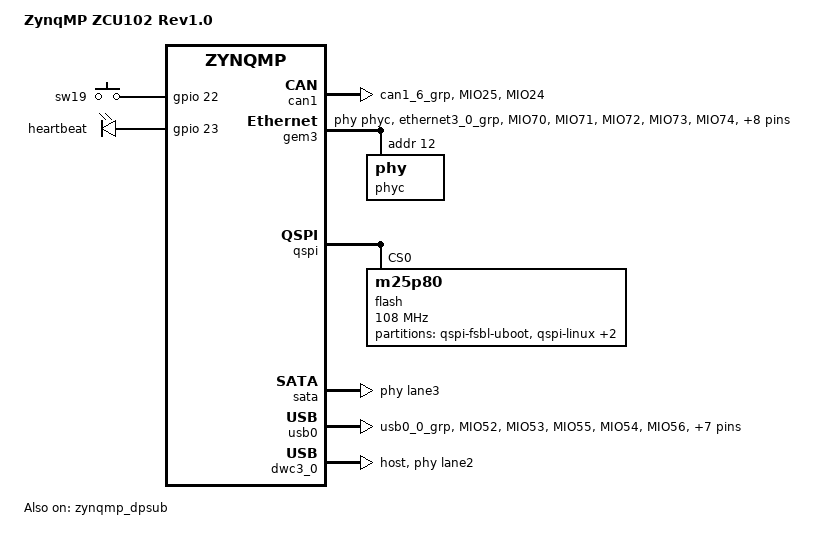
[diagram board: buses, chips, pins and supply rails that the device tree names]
// SPDX-License-Identifier: GPL-2.0+
/*
 * dts file for Xilinx ZynqMP ZCU102 Rev1.0
 * (C) Copyright 2016 - 2018, Xilinx, Inc.
 *
 * Michal Simek <michal.simek@xilinx.com>
 */

/ {
	model = "ZynqMP ZCU102 Rev1.0";
	compatible = "xlnx,zynqmp-zcu102-rev1.0", "xlnx,zynqmp-zcu102", "xlnx,zynqmp";

	gpio-keys {
		compatible = "gpio-keys";
		#address-cells = <1>;
		#size-cells = <0>;
		autorepeat;
		sw19 {
			label = "sw19";
			gpios = <&gpio 22 0>;
			linux,code = <108>; /* down */
			gpio-key,wakeup;
			autorepeat;
		};
	};

	leds {
		compatible = "gpio-leds";
		heartbeat_led {
			label = "heartbeat";
			gpios = <&gpio 23 0>;
			linux,default-trigger = "heartbeat";
		};
	};
};

&can1 {
	pinctrl-names = "default";
	pinctrl-0 = <&pinctrl_can1_default>;
};

&gem3 {
	phy-handle = <&phyc>;
	pinctrl-names = "default";
	pinctrl-0 = <&pinctrl_gem3_default>;
	phyc: phy@c {
		reg = <0xc>;
		ti,rx-internal-delay = <0x8>;
		ti,tx-internal-delay = <0xa>;
		ti,fifo-depth = <0x1>;
		ti,rxctrl-strap-worka;
	};
};

&gpio {
	pinctrl-names = "default";
	pinctrl-0 = <&pinctrl_gpio_default>;
};

&pinctrl0 {
	status = "okay";
	pinctrl_i2c0_default: i2c0-default {
		mux {
			groups = "i2c0_3_grp";
			function = "i2c0";
		};

		conf {
			groups = "i2c0_3_grp";
			bias-pull-up;
			slew-rate = <1>;
			io-standard = <1>;
		};
	};

	pinctrl_i2c0_gpio: i2c0-gpio {
		mux {
			groups = "gpio0_14_grp", "gpio0_15_grp";
			function = "gpio0";
		};

		conf {
			groups = "gpio0_14_grp", "gpio0_15_grp";
			slew-rate = <1>;
			io-standard = <1>;
		};
	};

	pinctrl_i2c1_default: i2c1-default {
		mux {
			groups = "i2c1_4_grp";
			function = "i2c1";
		};

		conf {
			groups = "i2c1_4_grp";
			bias-pull-up;
			slew-rate = <1>;
			io-standard = <1>;
		};
	};

	pinctrl_i2c1_gpio: i2c1-gpio {
		mux {
			groups = "gpio0_16_grp", "gpio0_17_grp";
			function = "gpio0";
		};

		conf {
			groups = "gpio0_16_grp", "gpio0_17_grp";
			slew-rate = <1>;
			io-standard = <1>;
		};
	};

	pinctrl_uart0_default: uart0-default {
		mux {
			groups = "uart0_4_grp";
			function = "uart0";
		};

		conf {
			groups = "uart0_4_grp";
			slew-rate = <1>;
			io-standard = <1>;
		};

		conf-rx {
			pins = "MIO18";
			bias-high-impedance;
		};

		conf-tx {
			pins = "MIO19";
			bias-disable;
		};
	};

	pinctrl_uart1_default: uart1-default {
		mux {
			groups = "uart1_5_grp";
			function = "uart1";
		};

		conf {
			groups = "uart1_5_grp";
			slew-rate = <1>;
			io-standard = <1>;
		};

		conf-rx {
			pins = "MIO21";
			bias-high-impedance;
		};

		conf-tx {
			pins = "MIO20";
			bias-disable;
		};
	};

	pinctrl_usb0_default: usb0-default {
		mux {
			groups = "usb0_0_grp";
			function = "usb0";
		};

		conf {
			groups = "usb0_0_grp";
			slew-rate = <1>;
			io-standard = <1>;
		};

		conf-rx {
			pins = "MIO52", "MIO53", "MIO55";
			bias-high-impedance;
		};

		conf-tx {
			pins = "MIO54", "MIO56", "MIO57", "MIO58", "MIO59",
			       "MIO60", "MIO61", "MIO62", "MIO63";
			bias-disable;
		};
	};

	pinctrl_gem3_default: gem3-default {
		mux {
			function = "ethernet3";
			groups = "ethernet3_0_grp";
		};

		conf {
			groups = "ethernet3_0_grp";
			slew-rate = <1>;
			io-standard = <1>;
		};

		conf-rx {
			pins = "MIO70", "MIO71", "MIO72", "MIO73", "MIO74",
									"MIO75";
			bias-high-impedance;
			low-power-disable;
		};

		conf-tx {
			pins = "MIO64", "MIO65", "MIO66", "MIO67", "MIO68",
									"MIO69";
			bias-disable;
			low-power-enable;
		};

		mux-mdio {
			function = "mdio3";
			groups = "mdio3_0_grp";
		};

		conf-mdio {
			groups = "mdio3_0_grp";
			slew-rate = <1>;
			io-standard = <1>;
			bias-disable;
		};
	};

	pinctrl_can1_default: can1-default {
		mux {
			function = "can1";
			groups = "can1_6_grp";
		};

		conf {
			groups = "can1_6_grp";
			slew-rate = <1>;
			io-standard = <1>;
		};

		conf-rx {
			pins = "MIO25";
			bias-high-impedance;
		};

		conf-tx {
			pins = "MIO24";
			bias-disable;
		};
	};

	pinctrl_sdhci1_default: sdhci1-default {
		mux {
			groups = "sdio1_0_grp";
			function = "sdio1";
		};

		conf {
			groups = "sdio1_0_grp";
			slew-rate = <1>;
			io-standard = <1>;
			bias-disable;
		};

		mux-cd {
			groups = "sdio1_cd_0_grp";
			function = "sdio1_cd";
		};

		conf-cd {
			groups = "sdio1_cd_0_grp";
			bias-high-impedance;
			bias-pull-up;
			slew-rate = <1>;
			io-standard = <1>;
		};

		mux-wp {
			groups = "sdio1_wp_0_grp";
			function = "sdio1_wp";
		};

		conf-wp {
			groups = "sdio1_wp_0_grp";
			bias-high-impedance;
			bias-pull-up;
			slew-rate = <1>;
			io-standard = <1>;
		};
	};

	pinctrl_gpio_default: gpio-default {
		mux-sw {
			function = "gpio0";
			groups = "gpio0_22_grp", "gpio0_23_grp";
		};

		conf-sw {
			groups = "gpio0_22_grp", "gpio0_23_grp";
			slew-rate = <1>;
			io-standard = <1>;
		};

		mux-msp {
			function = "gpio0";
			groups = "gpio0_13_grp", "gpio0_38_grp";
		};

		conf-msp {
			groups = "gpio0_13_grp", "gpio0_38_grp";
			slew-rate = <1>;
			io-standard = <1>;
		};

		conf-pull-up {
			pins = "MIO22", "MIO23";
			bias-pull-up;
		};

		conf-pull-none {
			pins = "MIO13", "MIO38";
			bias-disable;
		};
	};
};

&qspi {
	is-dual = <1>;
	flash@0 {
		compatible = "m25p80"; /* 32MB */
		#address-cells = <1>;
		#size-cells = <1>;
		reg = <0x0>;
		spi-tx-bus-width = <1>;
		spi-rx-bus-width = <4>; /* FIXME also DUAL configuration possible */
		spi-max-frequency = <108000000>; /* Based on DC1 spec */
		partition@qspi-fsbl-uboot { /* for testing purpose */
			label = "qspi-fsbl-uboot";
			reg = <0x0 0x100000>;
		};
		partition@qspi-linux { /* for testing purpose */
			label = "qspi-linux";
			reg = <0x100000 0x500000>;
		};
		partition@qspi-device-tree { /* for testing purpose */
			label = "qspi-device-tree";
			reg = <0x600000 0x20000>;
		};
		partition@qspi-rootfs { /* for testing purpose */
			label = "qspi-rootfs";
			reg = <0x620000 0x5E0000>;
		};
	};
};

&sata {
	/* SATA OOB timing settings */
	ceva,p0-cominit-params = /bits/ 8 <0x18 0x40 0x18 0x28>;
	ceva,p0-comwake-params = /bits/ 8 <0x06 0x14 0x08 0x0E>;
	ceva,p0-burst-params = /bits/ 8 <0x13 0x08 0x4A 0x06>;
	ceva,p0-retry-params = /bits/ 16 <0x96A4 0x3FFC>;

	ceva,p1-cominit-params = /bits/ 8 <0x18 0x40 0x18 0x28>;
	ceva,p1-comwake-params = /bits/ 8 <0x06 0x14 0x08 0x0E>;
	ceva,p1-burst-params = /bits/ 8 <0x13 0x08 0x4A 0x06>;
	ceva,p1-retry-params = /bits/ 16 <0x96A4 0x3FFC>;
	phy-names = "sata-phy";
	phys = <&lane3 1 1 1 125000000>;
};

/* SD1 with level shifter */
&sdhci1 {
	//pinctrl-names = "default";
	//pinctrl-0 = <&pinctrl_sdhci1_default>;
	no-1-8-v;
	disable_wp;
};
/*
&uart0 {
	pinctrl-names = "default";
	pinctrl-0 = <&pinctrl_uart0_default>;
};

&uart1 {
	pinctrl-names = "default";
	pinctrl-0 = <&pinctrl_uart1_default>;
};
*/

/* ULPI SMSC USB3320 */
&usb0 {
	pinctrl-names = "default";
	pinctrl-0 = <&pinctrl_usb0_default>;
};

&dwc3_0 {
	dr_mode = "host";
	snps,usb3_lpm_capable;
	phy-names = "usb3-phy";
	phys = <&lane2 4 0 2 26000000>;
};

&zynqmp_dpsub {
	//status = "disabled";
	status = "okay";
};

&pcie {
	//status = "okay";
	status = "disabled";
};
